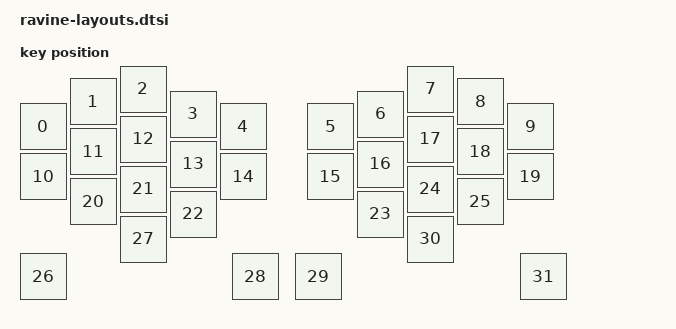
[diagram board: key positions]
#include <physical_layouts.dtsi>

/ {
    physical_layout_ravine: physical_layout_ravine {
        compatible = "zmk,physical-layout";
        display-name = "Ravine";
        keys  //                     w   h    x    y     rot    rx    ry
            = <&key_physical_attrs 100 100    0   75       0     0     0>
            , <&key_physical_attrs 100 100  100   25       0     0     0>
            , <&key_physical_attrs 100 100  200    0       0     0     0>
            , <&key_physical_attrs 100 100  300   50       0     0     0>
            , <&key_physical_attrs 100 100  400   75       0     0     0>
            , <&key_physical_attrs 100 100  575   75       0     0     0>
            , <&key_physical_attrs 100 100  675   50       0     0     0>
            , <&key_physical_attrs 100 100  775    0       0     0     0>
            , <&key_physical_attrs 100 100  875   25       0     0     0>
            , <&key_physical_attrs 100 100  975   75       0     0     0>
            , <&key_physical_attrs 100 100    0  175       0     0     0>
            , <&key_physical_attrs 100 100  100  125       0     0     0>
            , <&key_physical_attrs 100 100  200  100       0     0     0>
            , <&key_physical_attrs 100 100  300  150       0     0     0>
            , <&key_physical_attrs 100 100  400  175       0     0     0>
            , <&key_physical_attrs 100 100  575  175       0     0     0>
            , <&key_physical_attrs 100 100  675  150       0     0     0>
            , <&key_physical_attrs 100 100  775  100       0     0     0>
            , <&key_physical_attrs 100 100  875  125       0     0     0>
            , <&key_physical_attrs 100 100  975  175       0     0     0>
            , <&key_physical_attrs 100 100  100  225       0     0     0>
            , <&key_physical_attrs 100 100  200  200       0     0     0>
            , <&key_physical_attrs 100 100  300  250       0     0     0>
            , <&key_physical_attrs 100 100  675  250       0     0     0>
            , <&key_physical_attrs 100 100  775  200       0     0     0>
            , <&key_physical_attrs 100 100  875  225       0     0     0>
            , <&key_physical_attrs 100 100    0  375       0     0     0>
            , <&key_physical_attrs 100 100  200  300       0     0     0>
            , <&key_physical_attrs 100 100  425  375       0   475   425>
            , <&key_physical_attrs 100 100  550  375       0     0     0>
            , <&key_physical_attrs 100 100  775  300       0     0     0>
            , <&key_physical_attrs 100 100 1000  375       0   475   425>
            ;
    };
};
